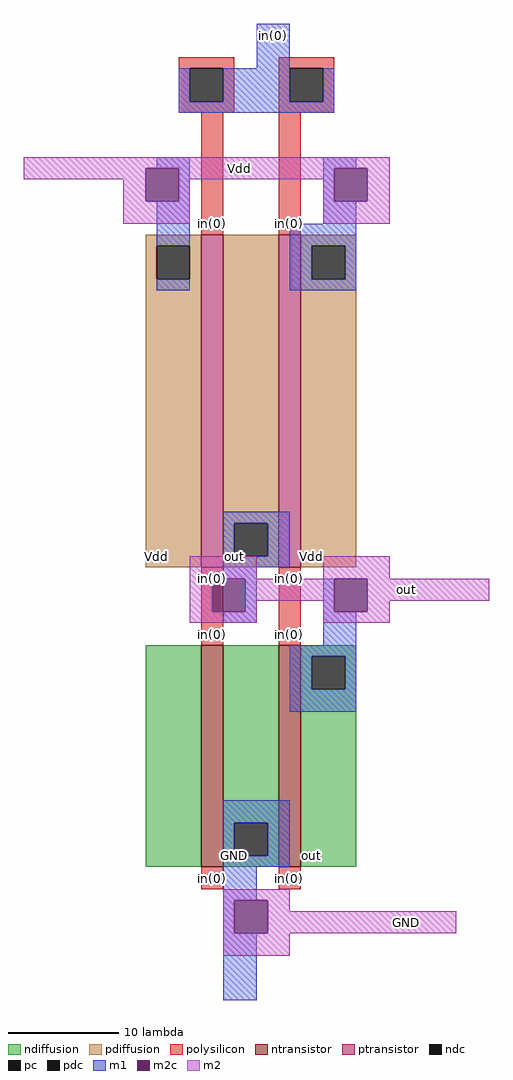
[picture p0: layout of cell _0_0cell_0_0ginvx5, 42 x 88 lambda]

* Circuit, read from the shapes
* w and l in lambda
.subckt _0_0cell_0_0ginvx5 GND Vdd in(0) out
M1 GND in(0) n1 VSUBS nfet w=20 l=2
M2 out in(0) GND VSUBS nfet w=20 l=2
M3 out in(0) Vdd NWELL pfet w=30 l=2 m=2
.ends

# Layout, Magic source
magic
tech sky130l
<< ndiffusion >>
rect 8 4 13 24
rect 15 8 20 24
rect 15 5 16 8
rect 19 5 20 8
rect 15 4 20 5
rect 22 23 27 24
rect 22 20 23 23
rect 26 20 27 23
rect 22 4 27 20
<< ndc >>
rect 16 5 19 8
rect 23 20 26 23
<< ntransistor >>
rect 13 4 15 24
rect 20 4 22 24
<< pdiffusion >>
rect 8 60 13 61
rect 8 57 9 60
rect 12 57 13 60
rect 8 31 13 57
rect 15 35 20 61
rect 15 32 16 35
rect 19 32 20 35
rect 15 31 20 32
rect 22 60 27 61
rect 22 57 23 60
rect 26 57 27 60
rect 22 31 27 57
<< pdc >>
rect 9 57 12 60
rect 16 32 19 35
rect 23 57 26 60
<< ptransistor >>
rect 13 31 15 61
rect 20 31 22 61
<< polysilicon >>
rect 11 76 16 77
rect 11 73 12 76
rect 15 73 16 76
rect 11 72 16 73
rect 20 76 25 77
rect 20 73 21 76
rect 24 73 25 76
rect 20 72 25 73
rect 13 61 15 72
rect 20 61 22 72
rect 13 24 15 31
rect 20 24 22 31
rect 13 2 15 4
rect 20 2 22 4
<< pc >>
rect 12 73 15 76
rect 21 73 24 76
<< m1 >>
rect 18 76 21 80
rect 11 73 12 76
rect 15 73 21 76
rect 24 73 25 76
rect 11 72 25 73
rect 9 67 12 68
rect 11 64 12 67
rect 9 60 12 64
rect 24 67 27 68
rect 24 64 25 67
rect 24 62 27 64
rect 9 56 12 57
rect 21 60 27 62
rect 21 57 23 60
rect 26 57 27 60
rect 21 56 27 57
rect 15 35 21 36
rect 15 32 16 35
rect 19 32 21 35
rect 15 31 21 32
rect 15 30 18 31
rect 17 27 18 30
rect 15 26 18 27
rect 24 27 25 30
rect 24 24 27 27
rect 21 23 27 24
rect 21 20 23 23
rect 26 20 27 23
rect 21 18 27 20
rect 15 8 21 10
rect 15 5 16 8
rect 19 5 21 8
rect 15 4 21 5
rect 15 1 18 4
rect 15 -2 16 1
rect 15 -8 18 -2
<< m2c >>
rect 8 64 11 67
rect 25 64 28 67
rect 14 27 17 30
rect 25 27 28 30
rect 16 -2 19 1
<< m2 >>
rect -3 67 30 68
rect -3 66 8 67
rect 6 64 8 66
rect 11 66 25 67
rect 11 64 12 66
rect 6 62 12 64
rect 24 64 25 66
rect 28 64 30 67
rect 24 62 30 64
rect 12 30 18 32
rect 24 30 30 32
rect 12 27 14 30
rect 17 28 25 30
rect 17 27 18 28
rect 12 26 18 27
rect 24 27 25 28
rect 28 28 39 30
rect 28 27 30 28
rect 24 26 30 27
rect 15 1 21 2
rect 15 -2 16 1
rect 19 0 21 1
rect 19 -2 36 0
rect 15 -4 21 -2
<< labels >>
rlabel ndiffusion 23 5 23 5 3 out
rlabel pdiffusion 23 32 23 32 3 Vdd
rlabel polysilicon 21 3 21 3 3 in(0)
rlabel ntransistor 21 5 21 5 3 in(0)
rlabel polysilicon 21 25 21 25 3 in(0)
rlabel polysilicon 21 30 21 30 3 in(0)
rlabel ptransistor 21 32 21 32 3 in(0)
rlabel polysilicon 21 62 21 62 3 in(0)
rlabel ndiffusion 16 5 16 5 3 GND
rlabel pdiffusion 16 32 16 32 3 out
rlabel polysilicon 14 3 14 3 3 in(0)
rlabel ntransistor 14 5 14 5 3 in(0)
rlabel polysilicon 14 25 14 25 3 in(0)
rlabel polysilicon 14 30 14 30 3 in(0)
rlabel ptransistor 14 32 14 32 3 in(0)
rlabel polysilicon 14 62 14 62 3 in(0)
rlabel pdiffusion 9 32 9 32 3 Vdd
rlabel m2 30 28 33 30 1 out
rlabel m2 30 -2 33 0 1 GND
rlabel m2 15 66 18 68 5 Vdd
rlabel m1 18 78 21 80 5 in(0)
<< end >>
